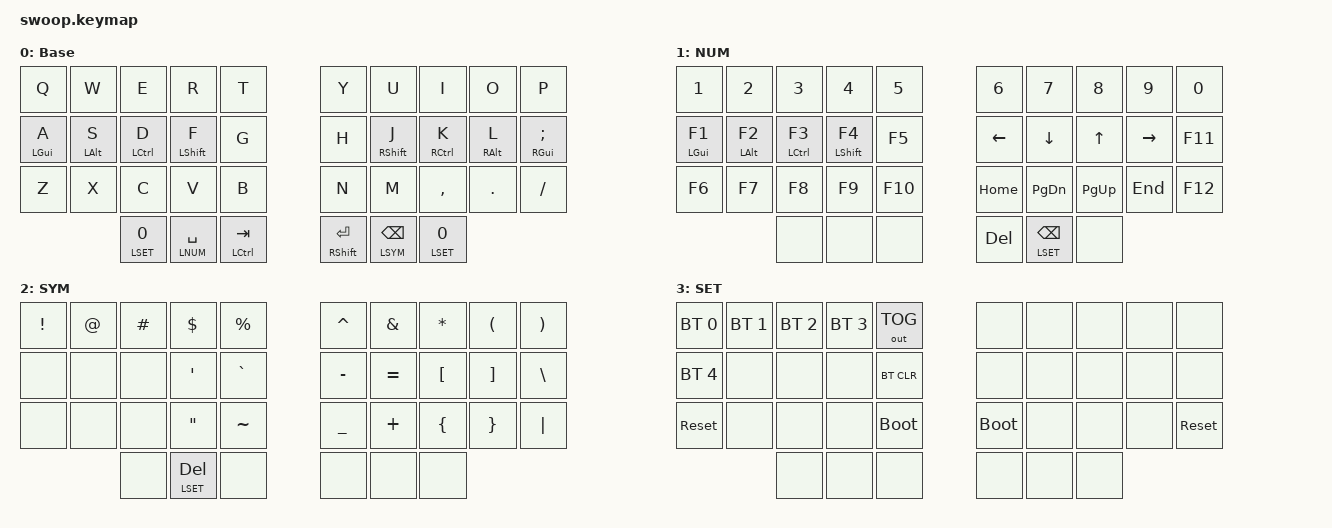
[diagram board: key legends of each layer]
/*
 * Copyright (c) 2020 duckyb
 *
 * SPDX-License-Identifier: MIT
 */

 //   0  1  2  3  4    5  6  7  8  9
 //  10 11 12 13 14   15 16 17 18 19
 //  20 21 22 23 24   25 26 27 28 29
 //           30 31   32 33

#include <behaviors.dtsi>
#include <dt-bindings/zmk/bt.h>
#include <dt-bindings/zmk/keys.h>
#include <dt-bindings/zmk/outputs.h>

#define LNUM 1
#define LSYM 2
#define LSET 3

&lt {
    tapping-term-ms = <240>;
    quick-tap-ms = <200>;
    require-prior-idle-ms = <125>;
    flavor = "tap-preferred";
};

/ {
    behaviors {
        hm: homerow_mods {
            compatible = "zmk,behavior-hold-tap";
            #binding-cells = <2>;
            bindings = <&kp>, <&kp>;
            tapping-term-ms = <240>;
            quick-tap-ms = <200>;
            require-prior-idle-ms = <125>;
            flavor = "tap-preferred";
        };
    };

    combos {
        compatible = "zmk,combos";

        combo_esc {
            bindings = <&kp ESC>;
            key-positions = <1 2>;
            timeout-ms = <70>;
        };

        combo_lbrc {
            bindings = <&kp LBRC>;
            key-positions = <2 3>;
            timeout-ms = <70>;
        };
        combo_rbrc {
            bindings = <&kp RBRC>;
            key-positions = <6 7>;
            timeout-ms = <70>;
        };

        combo_lbkt {
            bindings = <&kp LBKT>;
            key-positions = <21 22>;
            timeout-ms = <70>;
        };
        combo_rbkt {
            bindings = <&kp RBKT>;
            key-positions = <27 28>;
            timeout-ms = <70>;
        };

        combo_lpar {
            bindings = <&kp LPAR>;
            key-positions = <22 23>;
            timeout-ms = <70>;
        };
        combo_rpar {
            bindings = <&kp RPAR>;
            key-positions = <26 27>;
            timeout-ms = <70>;
        };

        combo_minus {
            bindings = <&kp MINUS>;
            key-positions = <2 7>;
            timeout-ms = <70>;
        };
        combo_under {
            bindings = <&kp UNDER>;
            key-positions = <1 8>;
            timeout-ms = <70>;
        };

        combo_sqt {
            bindings = <&kp SQT>;
            key-positions = <23 26>;
            timeout-ms = <70>;
        };
        combo_dqt {
            bindings = <&kp DQT>;
            key-positions = <22 27>;
            timeout-ms = <70>;
        };
        combo_bspc {
            bindings = <&kp BSPC>;
            key-positions = <7 8>;
            timeout-ms = <70>;
        };

    };

    macros {
    };

    keymap {
        compatible = "zmk,keymap";

        base {
            display-name = "Base";
            bindings = <
&kp Q       &kp W       &kp E        &kp R         &kp T    &kp Y  &kp U         &kp I        &kp O       &kp P
&hm LGUI A  &hm LALT S  &hm LCTRL D  &hm LSHIFT F  &kp G    &kp H  &hm RSHIFT J  &hm RCTRL K  &hm RALT L  &hm RGUI SEMI
&kp Z       &kp X       &kp C        &kp V         &kp B    &kp N  &kp M         &kp COMMA    &kp DOT     &kp SLASH
                &lt LSET 0  &lt LNUM SPACE  &hm LCTRL TAB    &hm RSHIFT ENTER  &lt LSYM BSPC  &lt LSET 0
            >;
        };

        number {
            display-name = "NUM";
            bindings = <
&kp N1       &kp N2       &kp N3        &kp N4         &kp N5     &kp N6    &kp N7     &kp N8     &kp N9     &kp N0
&hm LGUI F1  &hm LALT F2  &hm LCTRL F3  &hm LSHIFT F4  &kp F5     &kp LEFT  &kp DOWN   &kp UP     &kp RIGHT  &kp F11
&kp F6       &kp F7       &kp F8        &kp F9         &kp F10    &kp HOME  &kp PG_DN  &kp PG_UP  &kp END    &kp F12
                &none  &none  &none    &kp DEL  &lt LSET BSPC  &none
            >;
        };

        symbol {
            display-name = "SYM";
            bindings = <
&kp EXCL  &kp AT  &kp HASH  &kp DLLR  &kp PRCNT    &kp CARET  &kp AMPS   &kp STAR  &kp LPAR  &kp RPAR
&none     &none   &none     &kp SQT   &kp GRAVE    &kp MINUS  &kp EQUAL  &kp LBKT  &kp RBKT  &kp BSLH
&none     &none   &none     &kp DQT   &kp TILDE    &kp UNDER  &kp PLUS   &kp LBRC  &kp RBRC  &kp PIPE
                &none  &lt LSET DEL  &none    &none  &none  &none
            >;
        };

        setting {
            display-name = "SET";
            bindings = <
&bt BT_SEL 0  &bt BT_SEL 1  &bt BT_SEL 2  &bt BT_SEL 3  &out OUT_TOG    &none        &none  &none  &none  &none
&bt BT_SEL 4  &none         &none         &none         &bt BT_CLR      &none        &none  &none  &none  &none
&sys_reset    &none         &none         &none         &bootloader     &bootloader  &none  &none  &none  &sys_reset
                &none  &none  &none    &none  &none  &none
            >;
        };

    };
};
